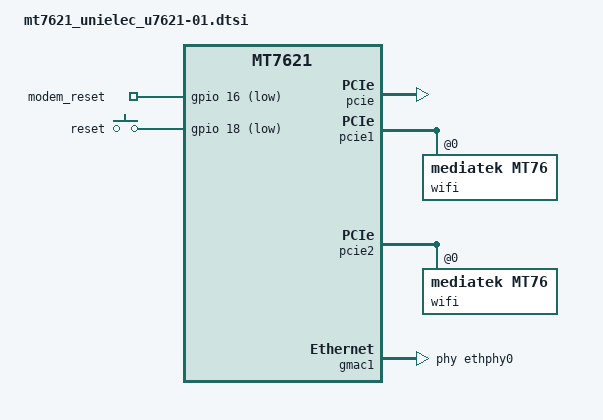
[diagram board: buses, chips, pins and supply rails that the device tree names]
// SPDX-License-Identifier: GPL-2.0-or-later OR MIT

#include "mt7621.dtsi"

#include <dt-bindings/gpio/gpio.h>
#include <dt-bindings/input/input.h>
#include <dt-bindings/leds/common.h>

/ {
	compatible = "unielec,u7621-01", "mediatek,mt7621-soc";

	gpio-export {
		compatible = "gpio-export";
		#size-cells = <0>;

		modem_reset {
			gpio-export,name = "modem_reset";
			gpio-export,output = <1>;
			gpios = <&gpio 16 GPIO_ACTIVE_LOW>;
		};
	};

	keys {
		compatible = "gpio-keys";

		reset {
			label = "reset";
			gpios = <&gpio 18 GPIO_ACTIVE_LOW>;
			linux,code = <KEY_RESTART>;
		};
	};
};

&pcie {
	status = "okay";
};

&pcie1 { // MT7603EN
	wifi@0,0 {
		compatible = "mediatek,mt76";
		reg = <0x0000 0 0 0 0>;
		nvmem-cells = <&eeprom_factory_0>;
		nvmem-cell-names = "eeprom";

		led {
			led-active-low;
		};
	};
};

&pcie2 { // MT7612E
	wifi@0,0 {
		compatible = "mediatek,mt76";
		reg = <0x0000 0 0 0 0>;
		nvmem-cells = <&eeprom_factory_8000>;
		nvmem-cell-names = "eeprom";
		ieee80211-freq-limit = <5000000 6000000>;
	};
};

&gmac1 {
	status = "okay";
	label = "wan";
	phy-handle = <&ethphy0>;
};

&ethphy0 {
	/delete-property/ interrupts;
};

&switch0 {
	ports {
		port@1 {
			status = "okay";
			label = "lan1";
		};

		port@2 {
			status = "okay";
			label = "lan2";
		};

		port@3 {
			status = "okay";
			label = "lan3";
		};

		port@4 {
			status = "okay";
			label = "lan4";
		};
	};
};

&state_default {
	gpio {
		groups = "jtag", "uart2", "wdt";
		function = "gpio";
	};
};
